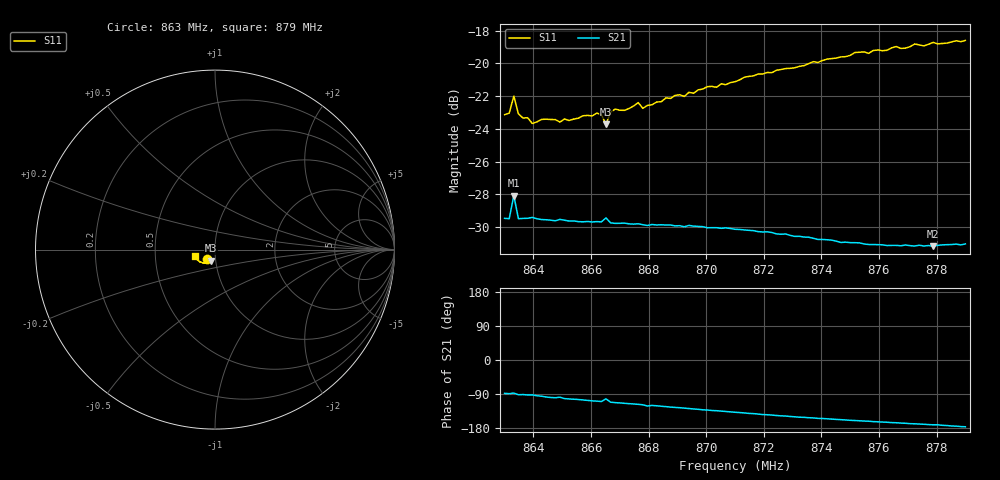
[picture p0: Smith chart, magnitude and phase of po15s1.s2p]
# HZ S RI R 50
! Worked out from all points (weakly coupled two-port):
!   101 points, 863 MHz to 879 MHz, reference 50 ohm
!   highest |S21| = -28.08 dB at 863.32 MHz (marker M1); lowest = -31.2 dB at 877.88 MHz (marker M2)
!   lowest |S11| = -23.7 dB at 866.52 MHz (marker M3), VSWR 1.14, Z = 47.5 - j5.85 ohm
!   |S11| at or under -10 dB: start of sweep to end of sweep
!   S12 and S22 are empty: the file has one direction only
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8.63e8  -0.0435 -0.0545  0.0012 -0.0336  0 0  0 0
8.6316e8  -0.043 -0.0558  0.000596 -0.0335  0 0  0 0
8.6332e8  -0.04 -0.0687  0.00193 -0.0394  0 0  0 0
8.6348e8  -0.0425 -0.0558  -0.001 -0.0335  0 0  0 0
8.6396e8  -0.0363 -0.0546  -0.00128 -0.0338  0 0  0 0
8.6444e8  -0.0382 -0.0557  -0.00446 -0.033  0 0  0 0
8.6492e8  -0.0341 -0.0567  -0.00475 -0.033  0 0  0 0
8.6572e8  -0.0351 -0.0597  -0.00872 -0.0316  0 0  0 0
8.6636e8  -0.0358 -0.06  -0.011 -0.0309  0 0  0 0
8.6652e8  -0.0222 -0.0613  -0.0073 -0.0329  0 0  0 0
8.6668e8  -0.0359 -0.0612  -0.0118 -0.0303  0 0  0 0
8.6684e8  -0.0361 -0.0629  -0.0124 -0.03  0 0  0 0
8.6716e8  -0.0341 -0.0633  -0.0134 -0.0296  0 0  0 0
8.6764e8  -0.0379 -0.0658  -0.0147 -0.0288  0 0  0 0
8.678e8  -0.0352 -0.0638  -0.0152 -0.0283  0 0  0 0
8.6844e8  -0.0378 -0.0664  -0.017 -0.0272  0 0  0 0
8.7004e8  -0.0446 -0.0723  -0.0211 -0.0233  0 0  0 0
8.71e8  -0.0487 -0.0732  -0.0231 -0.0209  0 0  0 0
8.7372e8  -0.069 -0.0742  -0.026 -0.0133  0 0  0 0
8.7644e8  -0.0933 -0.0614  -0.0269 -0.00709  0 0  0 0
8.7788e8  -0.1058 -0.0476  -0.0273 -0.00432  0 0  0 0
8.79e8  -0.1112 -0.0382  -0.028 -0.00188  0 0  0 0
